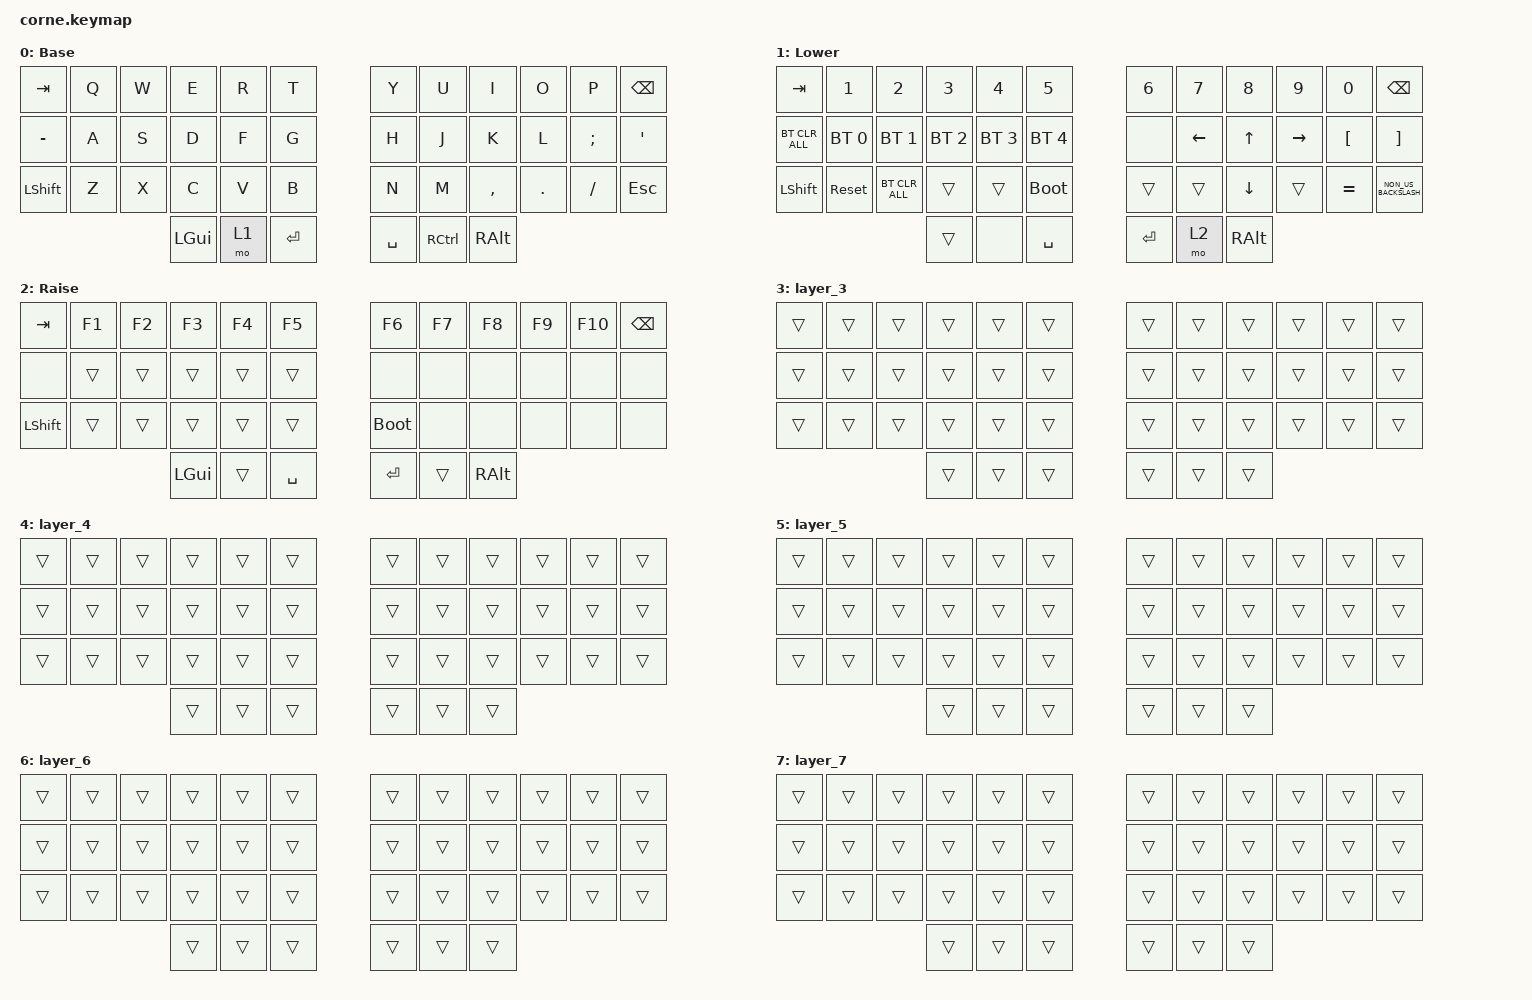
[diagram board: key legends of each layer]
/*
 * Copyright (c) 2020 The ZMK Contributors
 *
 * SPDX-License-Identifier: MIT
 */

#include <behaviors.dtsi>
#include <dt-bindings/zmk/bt.h>
#include <dt-bindings/zmk/keys.h>

/ {
    keymap {
        compatible = "zmk,keymap";

        default_layer {
            // -----------------------------------------------------------------------------------------
            // |  TAB |  Q  |  W  |  E  |  R  |  T  |   |  Y  |  U   |  I  |  O  |  P  | BKSP |
            // | CTRL |  A  |  S  |  D  |  F  |  G  |   |  H  |  J   |  K  |  L  |  ;  |  '   |
            // | SHFT |  Z  |  X  |  C  |  V  |  B  |   |  N  |  M   |  ,  |  .  |  /  | ESC  |
            //                    | GUI | LWR | SPC |   | ENT | RSE  | ALT |

            label = "Base";
            bindings = <
&kp TAB    &kp Q  &kp W  &kp E     &kp R  &kp T        &kp Y      &kp U              &kp I      &kp O    &kp P     &kp BSPC
&kp MINUS  &kp A  &kp S  &kp D     &kp F  &kp G        &kp H      &kp J              &kp K      &kp L    &kp SEMI  &kp SQT
&kp LSHFT  &kp Z  &kp X  &kp C     &kp V  &kp B        &kp N      &kp M              &kp COMMA  &kp DOT  &kp FSLH  &kp ESC
                         &kp LGUI  &mo 1  &kp ENTER    &kp SPACE  &kp RIGHT_CONTROL  &kp RALT
            >;
        };

        lower_layer {
            // -----------------------------------------------------------------------------------------
            // |  TAB |  1  |  2  |  3  |  4  |  5  |   |  6  |  7  |  8  |  9  |  0  | BKSP |
            // | BTCLR| BT1 | BT2 | BT3 | BT4 | BT5 |   | LFT | DWN |  UP | RGT |     |      |
            // | SHFT |     |     |     |     |     |   |     |     |     |     |     |      |
            //                    |BTCLR|     | SPC |   | ENT |     | ALT |

            label = "Lower";
            bindings = <
&kp TAB         &kp N1        &kp N2          &kp N3        &kp N4        &kp N5          &kp N6   &kp N7    &kp N8          &kp N9     &kp N0            &kp BSPC
&bt BT_CLR_ALL  &bt BT_SEL 0  &bt BT_SEL 1    &bt BT_SEL 2  &bt BT_SEL 3  &bt BT_SEL 4    &none    &kp LEFT  &kp UP          &kp RIGHT  &kp LEFT_BRACKET  &kp RIGHT_BRACKET
&kp LSHFT       &sys_reset    &bt BT_CLR_ALL  &trans        &trans        &bootloader     &trans   &trans    &kp DOWN_ARROW  &trans     &kp EQUAL         &kp NON_US_BACKSLASH
                                              &trans        &none         &kp SPACE       &kp RET  &mo 2     &kp RALT
            >;
        };

        raise_layer {
            // -----------------------------------------------------------------------------------------
            // |  TAB |  !  |  @  |  #  |  $  |  %  |   |  ^  |  &  |  *  |  (  |  )  | BKSP |
            // | CTRL |     |     |     |     |     |   |  -  |  =  |  [  |  ]  |  \  |  `   |
            // | SHFT |     |     |     |     |     |   |  _  |  +  |  {  |  }  | "|" |  ~   |
            //                    | GUI |     | SPC |   | ENT |     | ALT |

            label = "Raise";
            bindings = <
&kp TAB    &kp F1  &kp F2  &kp F3    &kp F4  &kp F5       &kp F6       &kp F7  &kp F8    &kp F9  &kp F10  &kp BSPC
&none      &trans  &trans  &trans    &trans  &trans       &none        &none   &none     &none   &none    &none
&kp LSHFT  &trans  &trans  &trans    &trans  &trans       &bootloader  &none   &none     &none   &none    &none
                           &kp LGUI  &trans  &kp SPACE    &kp RET      &trans  &kp RALT
            >;
        };

        layer_3 {
            bindings = <
&trans  &trans  &trans  &trans  &trans  &trans    &trans  &trans  &trans  &trans  &trans  &trans
&trans  &trans  &trans  &trans  &trans  &trans    &trans  &trans  &trans  &trans  &trans  &trans
&trans  &trans  &trans  &trans  &trans  &trans    &trans  &trans  &trans  &trans  &trans  &trans
                        &trans  &trans  &trans    &trans  &trans  &trans
            >;
        };

        layer_4 {
            bindings = <
&trans  &trans  &trans  &trans  &trans  &trans    &trans  &trans  &trans  &trans  &trans  &trans
&trans  &trans  &trans  &trans  &trans  &trans    &trans  &trans  &trans  &trans  &trans  &trans
&trans  &trans  &trans  &trans  &trans  &trans    &trans  &trans  &trans  &trans  &trans  &trans
                        &trans  &trans  &trans    &trans  &trans  &trans
            >;
        };

        layer_5 {
            bindings = <
&trans  &trans  &trans  &trans  &trans  &trans    &trans  &trans  &trans  &trans  &trans  &trans
&trans  &trans  &trans  &trans  &trans  &trans    &trans  &trans  &trans  &trans  &trans  &trans
&trans  &trans  &trans  &trans  &trans  &trans    &trans  &trans  &trans  &trans  &trans  &trans
                        &trans  &trans  &trans    &trans  &trans  &trans
            >;
        };

        layer_6 {
            bindings = <
&trans  &trans  &trans  &trans  &trans  &trans    &trans  &trans  &trans  &trans  &trans  &trans
&trans  &trans  &trans  &trans  &trans  &trans    &trans  &trans  &trans  &trans  &trans  &trans
&trans  &trans  &trans  &trans  &trans  &trans    &trans  &trans  &trans  &trans  &trans  &trans
                        &trans  &trans  &trans    &trans  &trans  &trans
            >;
        };

        layer_7 {
            bindings = <
&trans  &trans  &trans  &trans  &trans  &trans    &trans  &trans  &trans  &trans  &trans  &trans
&trans  &trans  &trans  &trans  &trans  &trans    &trans  &trans  &trans  &trans  &trans  &trans
&trans  &trans  &trans  &trans  &trans  &trans    &trans  &trans  &trans  &trans  &trans  &trans
                        &trans  &trans  &trans    &trans  &trans  &trans
            >;
        };
    };
};
